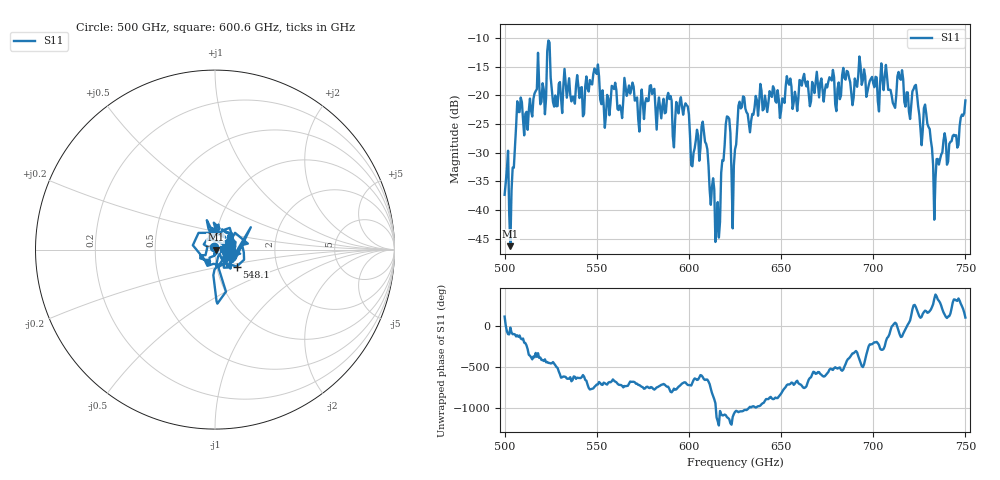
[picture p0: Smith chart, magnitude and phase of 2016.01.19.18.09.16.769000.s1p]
!Created with skrf (http://scikit-rf.org).
# GHz S RI R 50.0
!freq ReS11 ImS11
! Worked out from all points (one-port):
!   401 points, 500 GHz to 750 GHz, reference 50 ohm
!   lowest |S11| = -46.3 dB at 503.1 GHz (marker M1), VSWR 1.01, Z = 50.5 - j0.131 ohm
!   |S11| at or under -10 dB: start of sweep to end of sweep
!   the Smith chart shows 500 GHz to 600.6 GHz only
!   S11 on the Smith chart (normalised r, x): 500 GHz: 0.99, +0.02; 548.1 GHz: 1.25, -0.24; 600.6 GHz: 1.09, +0.00
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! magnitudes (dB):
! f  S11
! 500 GHz  -37.4
! 503.1 GHz  -46.3
! 508.1 GHz  -22.9
! 521.2 GHz  -19.0
! 524.4 GHz  -10.8
! 527.5 GHz  -20.0
! 531.2 GHz  -23.1
! 548.1 GHz  -16.3
! 562.5 GHz  -21.7
! 566.2 GHz  -20.1
! 593.8 GHz  -22.2
! 598.8 GHz  -21.7
! 600.6 GHz  -27.2
! 608.1 GHz  -26.4
! 615.6 GHz  -38.6
! 620.6 GHz  -23.7
! 625 GHz  -29.5
! 628.8 GHz  -22.0
! 633.8 GHz  -24.4
! 656.2 GHz  -22.4
! 687.5 GHz  -17.7
! 705.6 GHz  -19.1
! 711.2 GHz  -21.7
! 714.4 GHz  -17.0
! 718.8 GHz  -19.5
! 728.8 GHz  -23.2
! 733.8 GHz  -34.6
! 750 GHz  -20.9
